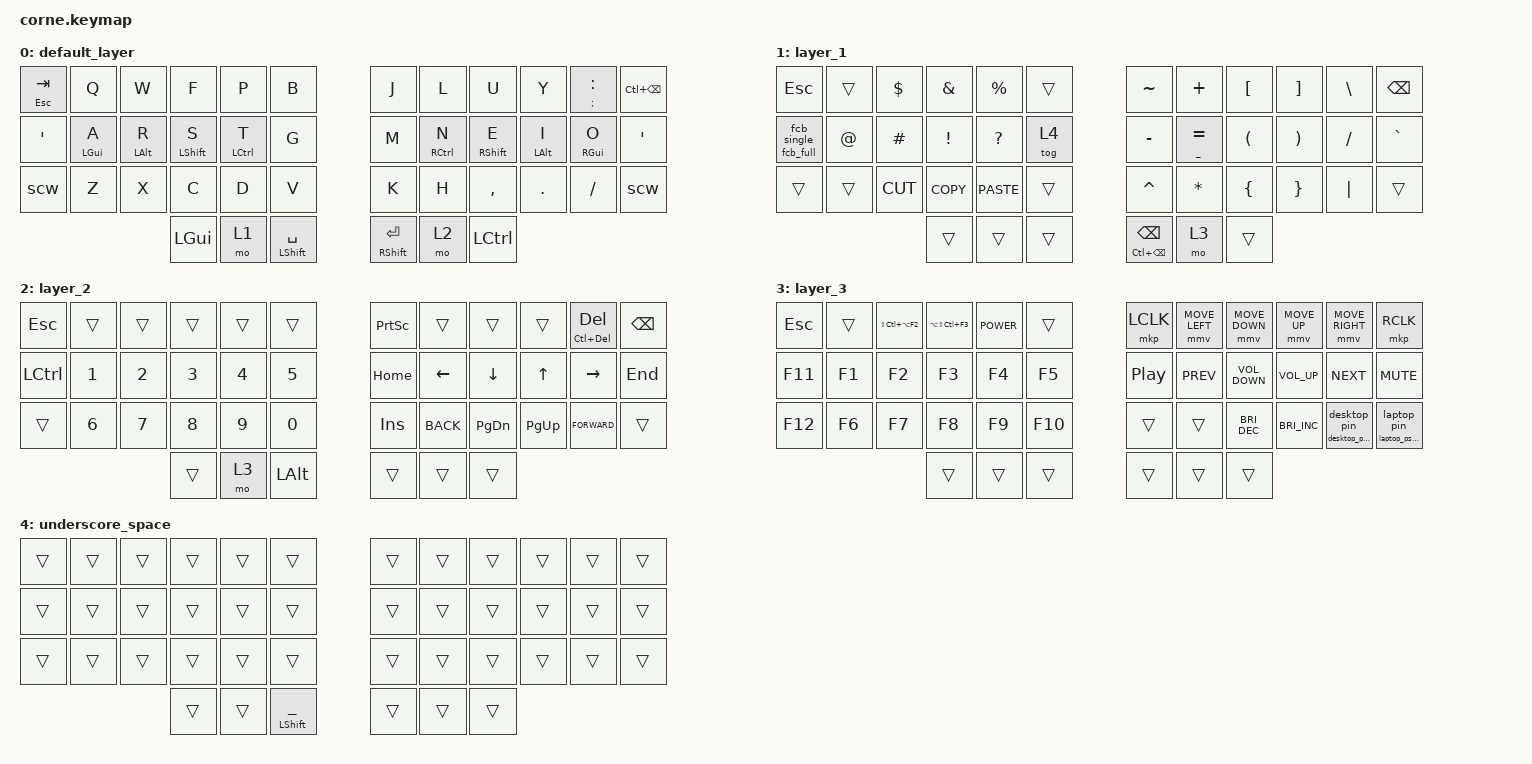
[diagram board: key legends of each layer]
/*
 * Copyright (c) 2020 The ZMK Contributors
 *
 * SPDX-License-Identifier: MIT
 */

#include <behaviors.dtsi>
#include <dt-bindings/zmk/keys.h>
#include <dt-bindings/zmk/pointing.h>

/ {
    macros {
        laptop_pswd: laptop_pswd {
            compatible = "zmk,behavior-macro";
            #binding-cells = <0>;
            bindings = <&kp G &kp N0 &kp V &kp N3 &kp R &kp N &kp N3 &kp R>;
            label = "LAPTOP_PSWD";
        };

        desktop_pswd: desktop_pswd {
            compatible = "zmk,behavior-macro";
            #binding-cells = <0>;
            bindings = <&kp R &kp N3 &kp N4 &kp L &kp W &kp N0 &kp R &kp L &kp D>;
            label = "DESKTOP_PSWD";
        };

        fcb_full: fcb {
            compatible = "zmk,behavior-macro";
            #binding-cells = <0>;
            bindings = <&kp GRAVE &kp GRAVE &kp GRAVE &kp LS(ENTER) &kp LS(ENTER) &kp GRAVE &kp GRAVE &kp GRAVE &kp UP_ARROW>;
            label = "Fenced Code Block - Full";
        };

        fcb_single: fcb_single {
            compatible = "zmk,behavior-macro";
            #binding-cells = <0>;
            bindings = <&kp GRAVE &kp GRAVE &kp GRAVE>;
            label = "Fenced Code Block - Single";
        };

        laptop_pin: laptop_pin {
            compatible = "zmk,behavior-macro";
            #binding-cells = <0>;
            bindings = <&kp N3 &kp N6 &kp N9 &kp N6>;
            label = "LAPTOP_PIN";
        };

        desktop_pin: desktop_pin {
            compatible = "zmk,behavior-macro";
            #binding-cells = <0>;
            bindings = <&kp N2 &kp N8 &kp N8 &kp N4>;
            label = "DESKTOP_PIN";
        };

        pswd: pswd {
            compatible = "zmk,behavior-macro";
            #binding-cells = <0>;
            bindings = <&kp LS(T) &kp SQT &kp SQT &kp N0 &kp N &kp LS(M) &kp U &kp N &kp LS(M) &kp AT &kp S &kp T &kp E &kp R &kp N1 &kp AT &kp V &kp AT &kp N1 &kp N>;
            label = "PSWD";
        };
    };

    behaviors {
        ht_kp: ht_kp {
            compatible = "zmk,behavior-hold-tap";
            label = "Hold Tap - Key Press";
            bindings = <&kp>, <&kp>;

            #binding-cells = <2>;
            tapping-term-ms = <200>;
            flavor = "hold-preferred";
        };

        scw: scw {
            compatible = "zmk,behavior-tap-dance";
            label = "Shift Caps Word";
            #binding-cells = <0>;
            bindings = <&kp LEFT_SHIFT>, <&kp CAPSLOCK>;
        };

        auto_fcb: auto_fcb {
            compatible = "zmk,behavior-hold-tap";
            label = "Automatic Fenced Code Block";
            bindings = <&fcb_full>, <&fcb_single>;

            #binding-cells = <2>;
            tapping-term-ms = <400>;
            quick-tap-ms = <400>;
            require-prior-idle-ms = <400>;
        };

        ht_kp_hwu: ht_kp_hwu {
            compatible = "zmk,behavior-hold-tap";
            label = "Hold Tap - Key Press - Hold While Undecided";
            bindings = <&kp>, <&kp>;

            #binding-cells = <2>;
            tapping-term-ms = <200>;
            flavor = "hold-preferred";
            hold-while-undecided;
        };

        laptop_secrets: laptop_secrets {
            compatible = "zmk,behavior-hold-tap";
            label = "LAPTOP_SECRETS";
            bindings = <&laptop_pswd>, <&laptop_pin>;

            #binding-cells = <2>;
            tapping-term-ms = <400>;
        };

        desktop_secrets: desktop_secrets {
            compatible = "zmk,behavior-hold-tap";
            label = "DESKTOP_SECRETS";
            bindings = <&desktop_pswd>, <&desktop_pin>;

            #binding-cells = <2>;
            tapping-term-ms = <400>;
            flavor = "tap-preferred";
        };

        hmr: hmr {
            compatible = "zmk,behavior-hold-tap";
            label = "Homerow Mods - Right";
            bindings = <&kp>, <&kp>;

            #binding-cells = <2>;
            tapping-term-ms = <280>;
            quick-tap-ms = <175>;
            require-prior-idle-ms = <150>;
            flavor = "balanced";
            hold-trigger-on-release;
            hold-trigger-key-positions = <0 1 2 3 4 5 12 13 14 15 16 17 24 25 26 27 28 29 36 37 38 39 40 41>;
        };

        hml: hml {
            compatible = "zmk,behavior-hold-tap";
            label = "Homerow Mod - Left";
            bindings = <&kp>, <&kp>;

            #binding-cells = <2>;
            tapping-term-ms = <280>;
            quick-tap-ms = <175>;
            require-prior-idle-ms = <150>;
            flavor = "balanced";
            hold-trigger-on-release;
            hold-trigger-key-positions = <6 7 8 9 10 11 18 19 20 21 22 23 30 31 32 33 34 35 39 40 41 36 37 38>;
        };
    };

    combos {
        compatible = "zmk,combos";

        toggle_colemak {
            bindings = <&tog 0>;
            key-positions = <24 35>;
        };
    };

    keymap {
        compatible = "zmk,keymap";

        default_layer {
            bindings = <
&ht_kp ESCAPE TAB  &kp Q            &kp W            &kp F              &kp P         &kp B                          &kp J                         &kp L         &kp U               &kp Y            &ht_kp SEMICOLON COLON  &kp LC(BACKSPACE)
&kp SQT            &hml LEFT_GUI A  &hml LEFT_ALT R  &hml LEFT_SHIFT S  &hml LCTRL T  &kp G                          &kp M                         &hmr RCTRL N  &hmr RIGHT_SHIFT E  &hmr LEFT_ALT I  &hmr RIGHT_GUI O        &kp SQT
&scw               &kp Z            &kp X            &kp C              &kp D         &kp V                          &kp K                         &kp H         &kp COMMA           &kp DOT          &kp FSLH                &scw
                                                     &kp LEFT_GUI       &mo 1         &ht_kp_hwu LEFT_SHIFT SPACE    &ht_kp_hwu RIGHT_SHIFT ENTER  &mo 2         &kp LCTRL
            >;
        };

        layer_1 {
            bindings = <
&kp ESCAPE     &trans       &kp DOLLAR  &kp AMPERSAND    &kp PERCENT   &trans    &kp TILDE                       &kp PLUS                 &kp LEFT_BRACKET      &kp RIGHT_BRACKET      &kp BACKSLASH  &kp BACKSPACE
&auto_fcb 0 0  &kp AT_SIGN  &kp HASH    &kp EXCLAMATION  &kp QUESTION  &tog 4    &kp MINUS                       &ht_kp UNDERSCORE EQUAL  &kp LEFT_PARENTHESIS  &kp RIGHT_PARENTHESIS  &kp SLASH      &kp GRAVE
&trans         &trans       &kp K_CUT   &kp K_COPY       &kp K_PASTE   &trans    &kp CARET                       &kp ASTERISK             &kp LEFT_BRACE        &kp RIGHT_BRACE        &kp PIPE       &trans
                                        &trans           &trans        &trans    &ht_kp LC(BACKSPACE) BACKSPACE  &mo 3                    &trans
            >;
        };

        layer_2 {
            // -----------------------------------------------------------------------------------------
            // |  TAB |  1  |  2  |  3  |  4  |  5  |   |  6  |  7  |  8  |  9  |  0  | BSPC |
            // | BTCLR| BT1 | BT2 | BT3 | BT4 | BT5 |   | LFT | DWN |  UP | RGT |     |      |
            // | SHFT |     |     |     |     |     |   |     |     |     |     |     |      |
            //                    | GUI |     | SPC |   | ENT |     | ALT |

            bindings = <
&kp ESCAPE  &trans  &trans  &trans  &trans  &trans          &kp PRINTSCREEN  &trans      &trans         &trans     &ht_kp LC(DELETE) DELETE  &kp BSPC
&kp LCTRL   &kp N1  &kp N2  &kp N3  &kp N4  &kp N5          &kp HOME         &kp LEFT    &kp DOWN       &kp UP     &kp RIGHT                 &kp END
&trans      &kp N6  &kp N7  &kp N8  &kp N9  &kp N0          &kp INSERT       &kp K_BACK  &kp PAGE_DOWN  &kp PG_UP  &kp K_FORWARD             &trans
                            &trans  &mo 3   &kp LEFT_ALT    &trans           &trans      &trans
            >;
        };

        layer_3 {
            bindings = <
&kp ESCAPE  &trans  &kp LS(LC(LA(F2)))  &kp LA(LS(LC(F3)))  &kp K_POWER  &trans     &mkp LCLK         &mmv MOVE_LEFT  &mmv MOVE_DOWN        &mmv MOVE_UP          &mmv MOVE_RIGHT       &mkp RCLK
&kp F11     &kp F1  &kp F2              &kp F3              &kp F4       &kp F5     &kp C_PLAY_PAUSE  &kp C_PREV      &kp C_VOLUME_DOWN     &kp C_VOLUME_UP       &kp C_NEXT            &kp K_MUTE
&kp F12     &kp F6  &kp F7              &kp F8              &kp F9       &kp F10    &trans            &trans          &kp C_BRIGHTNESS_DEC  &kp C_BRIGHTNESS_INC  &desktop_secrets 0 0  &laptop_secrets 0 0
                                        &trans              &trans       &trans     &trans            &trans          &trans
            >;
        };

        underscore_space {
            bindings = <
&trans  &trans  &trans  &trans  &trans  &trans                              &trans  &trans  &trans  &trans  &trans  &trans
&trans  &trans  &trans  &trans  &trans  &trans                              &trans  &trans  &trans  &trans  &trans  &trans
&trans  &trans  &trans  &trans  &trans  &trans                              &trans  &trans  &trans  &trans  &trans  &trans
                        &trans  &trans  &ht_kp_hwu LEFT_SHIFT UNDERSCORE    &trans  &trans  &trans
            >;
        };
    };
};
